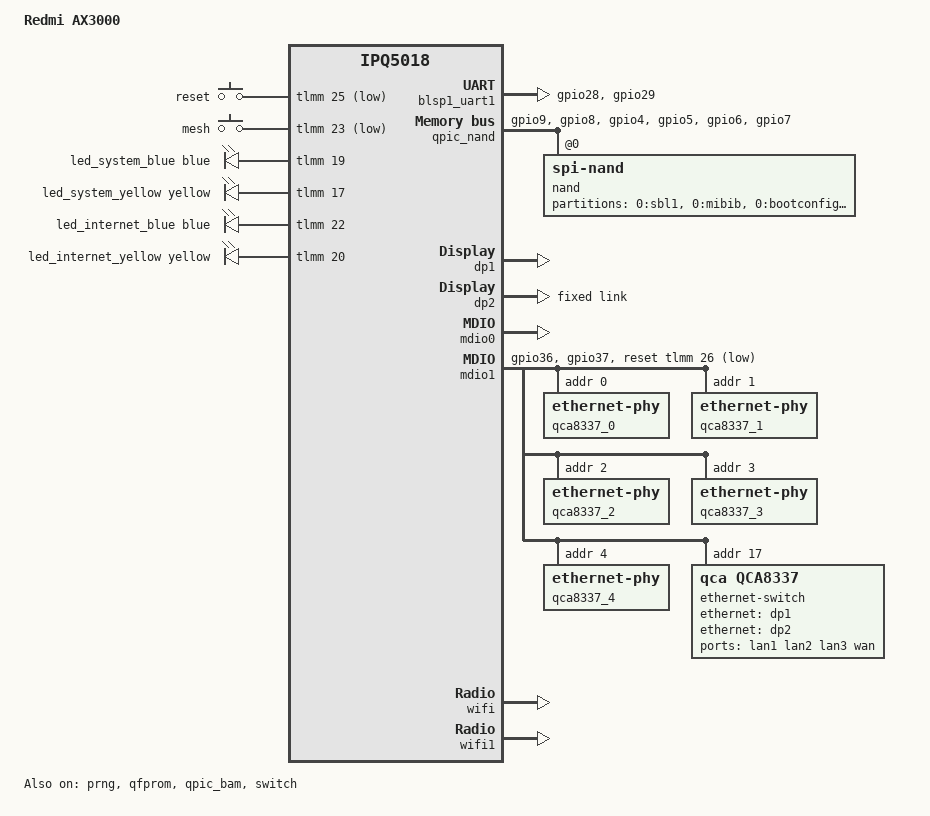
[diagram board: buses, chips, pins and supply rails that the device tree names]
// SPDX-License-Identifier: GPL-2.0-or-later OR MIT
/*
 * Redmi AX3000 (RA81), 32-bit ARM build.
 *
 * The vendor U-Boot is a 32-bit ARM binary, so it cannot start an AArch64
 * kernel. The 'arm' subtarget therefore builds this board for 32-bit ARM,
 * reusing the AArch64 SoC/ESS/QCN6122 descriptions and overriding only the
 * genuinely architecture specific bits (the PMU compatible).
 *
 * The vendor U-Boot keeps a single UBI device over the whole 0xa80000-0x7f00000
 * region (932 PEBs) and its fdt_fixup_qpic hook merely injects the boot
 * partitions. It also auto-resizes the rootfs_data volume to fill those 932
 * PEBs on every boot, so the kernel has to describe the same layout: the SMEM
 * table splits that area into 36M rootfs/rootfs_1/overlay/data slots and
 * attaching UBI to one of them fails with "too large reserved_pebs".
 * Describe the layout explicitly instead, with one 'rootfs' partition that
 * covers the full UBI device.
 */

/dts-v1/;

#include "../../../../arm64/boot/dts/qcom/ipq5018.dtsi"
#include "../../../../arm64/boot/dts/qcom/ipq5018-ess.dtsi"
#include "../../../../arm64/boot/dts/qcom/ipq5018-qcn6122.dtsi"

#include <dt-bindings/gpio/gpio.h>
#include <dt-bindings/input/input.h>
#include <dt-bindings/leds/common.h>

/ {
	model = "Redmi AX3000";
	compatible = "redmi,ax3000", "qcom,ipq5018";

	/*
	 * The upstream ipq5018.dtsi declares a placeholder memory node with a
	 * zero size, expecting the bootloader to fill it in. This vendor U-Boot
	 * instead adds a /memory node of its own (as on the working 23.05 build,
	 * whose DTS has no memory node), so drop the placeholder to avoid ending
	 * up with a zero-sized bank and no usable RAM.
	 */
	/delete-node/ memory@40000000;

	pmu {
		compatible = "arm,cortex-a7-pmu";
	};

	aliases {
		serial0 = &blsp1_uart1;
		led-boot = &led_system_blue;
		led-failsafe = &led_system_yellow;
		led-running = &led_system_blue;
		led-upgrade = &led_system_yellow;
		label-mac-device = <&dp1>;
	};

	chosen {
		/*
		 * Xiaomi's U-Boot sets ubi.mtd=rootfs or rootfs_1 depending on
		 * the booted slot. Inside the UBI the kernel is volume 0 and the
		 * rootfs is volume 1.
		 */
		bootargs-append = " root=/dev/ubiblock0_1 swiotlb=1 coherent_pool=2M";
		stdout-path = "serial0:115200n8";
	};

	keys {
		compatible = "gpio-keys";
		pinctrl-0 = <&button_pins>;
		pinctrl-names = "default";

		reset-button {
			label = "reset";
			gpios = <&tlmm 25 GPIO_ACTIVE_LOW>;
			linux,code = <KEY_RESTART>;
		};

		mesh-button {
			label = "mesh";
			gpios = <&tlmm 23 GPIO_ACTIVE_LOW>;
			linux,code = <KEY_WPS_BUTTON>;
		};
	};

	leds {
		compatible = "gpio-leds";
		pinctrl-0 = <&leds_pins>;
		pinctrl-names = "default";

		led_system_blue: system-blue {
			color = <LED_COLOR_ID_BLUE>;
			function = LED_FUNCTION_STATUS;
			gpios = <&tlmm 19 GPIO_ACTIVE_HIGH>;
			default-state = "on";
		};

		led_system_yellow: system-yellow {
			color = <LED_COLOR_ID_YELLOW>;
			function = LED_FUNCTION_STATUS;
			gpios = <&tlmm 17 GPIO_ACTIVE_HIGH>;
		};

		led_internet_blue: internet-blue {
			color = <LED_COLOR_ID_BLUE>;
			function = LED_FUNCTION_WAN;
			gpios = <&tlmm 22 GPIO_ACTIVE_HIGH>;
		};

		led_internet_yellow: internet-yellow {
			color = <LED_COLOR_ID_YELLOW>;
			function = LED_FUNCTION_WAN;
			gpios = <&tlmm 20 GPIO_ACTIVE_HIGH>;
		};
	};
};

&sleep_clk {
	clock-frequency = <32000>;
};

&xo_board_clk {
	clock-div = <4>;
	clock-mult = <1>;
};

&blsp1_uart1 {
	status = "okay";

	pinctrl-0 = <&serial_0_pins>;
	pinctrl-names = "default";
};

&prng {
	status = "okay";
};

&qfprom {
	status = "okay";
};

&qpic_bam {
	status = "okay";
};

&qpic_nand {
	pinctrl-0 = <&qpic_pins>;
	pinctrl-names = "default";
	status = "okay";

	nand@0 {
		compatible = "spi-nand";
		reg = <0>;
		nand-ecc-engine = <&qpic_nand>;
		nand-ecc-step-size = <512>;
		nand-ecc-strength = <8>;
		nand-bus-width = <8>;

		partitions {
			compatible = "fixed-partitions";
			#address-cells = <1>;
			#size-cells = <1>;

			partition@0 {
				label = "0:sbl1";
				reg = <0x00000000 0x00080000>;
				read-only;
			};

			partition@80000 {
				label = "0:mibib";
				reg = <0x00080000 0x00080000>;
				read-only;
			};

			partition@100000 {
				label = "0:bootconfig";
				reg = <0x00100000 0x00040000>;
				read-only;
			};

			partition@140000 {
				label = "0:bootconfig1";
				reg = <0x00140000 0x00040000>;
				read-only;
			};

			partition@180000 {
				label = "0:qsee";
				reg = <0x00180000 0x00100000>;
				read-only;
			};

			partition@280000 {
				label = "0:qsee_1";
				reg = <0x00280000 0x00100000>;
				read-only;
			};

			partition@380000 {
				label = "0:devcfg";
				reg = <0x00380000 0x00040000>;
				read-only;
			};

			partition@3c0000 {
				label = "0:devcfg_1";
				reg = <0x003c0000 0x00040000>;
				read-only;
			};

			partition@400000 {
				label = "0:cdt";
				reg = <0x00400000 0x00040000>;
				read-only;
			};

			partition@440000 {
				label = "0:cdt_1";
				reg = <0x00440000 0x00040000>;
				read-only;
			};

			partition@480000 {
				label = "0:appsblenv";
				reg = <0x00480000 0x00080000>;
			};

			partition@500000 {
				label = "0:appsbl";
				reg = <0x00500000 0x00140000>;
				read-only;
			};

			partition@640000 {
				label = "0:appsbl_1";
				reg = <0x00640000 0x00140000>;
				read-only;
			};

			partition@780000 {
				label = "0:art";
				reg = <0x00780000 0x00100000>;
			};

			partition@880000 {
				label = "0:training";
				reg = <0x00880000 0x00080000>;
				read-only;
			};

			partition@900000 {
				label = "bdata";
				reg = <0x00900000 0x00080000>;
			};

			partition@980000 {
				label = "crash";
				reg = <0x00980000 0x00080000>;
			};

			partition@a00000 {
				label = "crash_log";
				reg = <0x00a00000 0x00080000>;
			};

			/*
			 * U-Boot attaches UBI to the whole 0xa80000-0x7f00000
			 * area (932 PEBs); keep one partition of that size so
			 * the volume table it writes is consistent.
			 */
			partition@a80000 {
				label = "rootfs";
				reg = <0x00a80000 0x07480000>;
			};
		};
	};
};

&switch {
	status = "okay";

	switch_mac_mode = <MAC_MODE_SGMII_CHANNEL0>;

	qcom,port_phyinfo {
		/* MAC0 -> GE Phy --- MDI --- QCA8337 Phy4 (port 5) */
		port@0 {
			port_id = <1>;
			mdiobus = <&mdio0>;
			phy_address = <7>;
		};

		/* MAC1 -> Uniphy --- SGMII --- QCA8337 SerDes (port 6) */
		port@1 {
			port_id = <2>;
			mdiobus = <&mdio1>;
			forced-speed = <1000>;
			forced-duplex = <1>;
		};
	};
};

/* MAC0 -> GE Phy */
&dp1 {
	status = "okay";
};

/* MAC1 -> SGMII -> QCA8337 */
&dp2 {
	status = "okay";

	fixed-link {
		speed = <1000>;
		full-duplex;
	};
};

&mdio0 {
	status = "okay";
};

/* MAC0 -> GE Phy -> QCA8337 Phy4 */
&ge_phy {
	qcom,dac-preset-short-cable;
};

&mdio1 {
	status = "okay";

	pinctrl-0 = <&mdio1_pins>;
	pinctrl-names = "default";
	reset-gpios = <&tlmm 26 GPIO_ACTIVE_LOW>;

	/* QCA8337 Phy0 -> LAN1 */
	qca8337_0: ethernet-phy@0 {
		reg = <0>;
	};

	/* QCA8337 Phy1 -> LAN2 */
	qca8337_1: ethernet-phy@1 {
		reg = <1>;
	};

	/* QCA8337 Phy2 -> LAN3 */
	qca8337_2: ethernet-phy@2 {
		reg = <2>;
	};

	/* QCA8337 Phy3 -> WAN */
	qca8337_3: ethernet-phy@3 {
		reg = <3>;
	};

	/* QCA8337 Phy4 -> IPQ5000 GE Phy */
	qca8337_4: ethernet-phy@4 {
		reg = <4>;
	};

	/* QCA8337 switch */
	ethernet-switch@11 {
		compatible = "qca,qca8337";
		reg = <0x11>;

		ports {
			#address-cells = <1>;
			#size-cells = <0>;

			port@1 {
				reg = <1>;
				label = "lan1";
				phy-handle = <&qca8337_0>;
			};

			port@2 {
				reg = <2>;
				label = "lan2";
				phy-handle = <&qca8337_1>;
			};

			port@3 {
				reg = <3>;
				label = "lan3";
				phy-handle = <&qca8337_2>;
			};

			port@4 {
				reg = <4>;
				label = "wan";
				phy-handle = <&qca8337_3>;
			};

			/*
			 * QCA8337 Phy4 is wired to the IPQ5000 GE PHY (MAC0).
			 * Same wiring as the SPNMX56 upstream: the GE PHY link
			 * goes to MAC0 (dp1).
			 */
			port@5 {
				reg = <5>;
				phy-handle = <&qca8337_4>;
				phy-mode = "gmii";
				ethernet = <&dp1>;
			};

			/* CPU port ---SGMII---> IPQ5000 MAC1 */
			port@6 {
				reg = <6>;
				phy-mode = "sgmii";
				ethernet = <&dp2>;
				qca,sgmii-enable-pll;

				fixed-link {
					speed = <1000>;
					full-duplex;
				};
			};
		};
	};
};

&tlmm {
	button_pins: button-state {
		pins = "gpio23", "gpio25";
		function = "gpio";
		drive-strength = <8>;
		bias-pull-up;
	};

	leds_pins: leds-state {
		pins = "gpio17", "gpio19", "gpio20", "gpio22";
		function = "gpio";
		drive-strength = <8>;
		bias-pull-down;
	};

	mdio1_pins: mdio-state {
		mdc-pins {
			pins = "gpio36";
			function = "mdc";
			drive-strength = <8>;
			bias-pull-up;
		};

		mdio-pins {
			pins = "gpio37";
			function = "mdio";
			drive-strength = <8>;
			bias-pull-up;
		};
	};

	qpic_pins: qpic-state {
		clock-pins {
			pins = "gpio9";
			function = "qspi_clk";
			drive-strength = <8>;
			bias-disable;
		};

		cs-pins {
			pins = "gpio8";
			function = "qspi_cs";
			drive-strength = <8>;
			bias-disable;
		};

		data-pins {
			pins = "gpio4", "gpio5", "gpio6", "gpio7";
			function = "qspi_data";
			drive-strength = <8>;
			bias-disable;
		};
	};

	serial_0_pins: uart0-state {
		pins = "gpio28", "gpio29";
		function = "blsp0_uart1";
		drive-strength = <8>;
		bias-disable;
	};
};

&q6v5_wcss {
	/* QCN6122 (PD2) is held in reset by GPIO 27 */
	boot-args = </*       type: */ 0x2 /* PCIE1 */
		     /*     length: */ 4
		     /*      PD id: */ 2
		     /* reset GPIO: */ 27
		     /*   reserved: */ 0 0>;
};

&wifi {
	status = "okay";

	/* IPQ5000 2.4 GHz; board id is reported by the target itself */
	qcom,rproc = <&q6_wcss_pd1>;
	qcom,userpd-subsys-name = "q6v5_wcss_userpd1";
	qcom,ath11k-fw-memory-mode = <2>;
	qcom,bdf-addr = <0x4c400000>;
};

&wifi1 {
	status = "okay";

	/* QCN6102 / QCN6122 5 GHz */
	qcom,rproc = <&q6_wcss_pd2>;
	qcom,userpd-subsys-name = "q6v5_wcss_userpd2";
	qcom,ath11k-fw-memory-mode = <2>;
	qcom,bdf-addr = <0x4d100000>;
	qcom,m3-dump-addr = <0x4df00000>;
};
